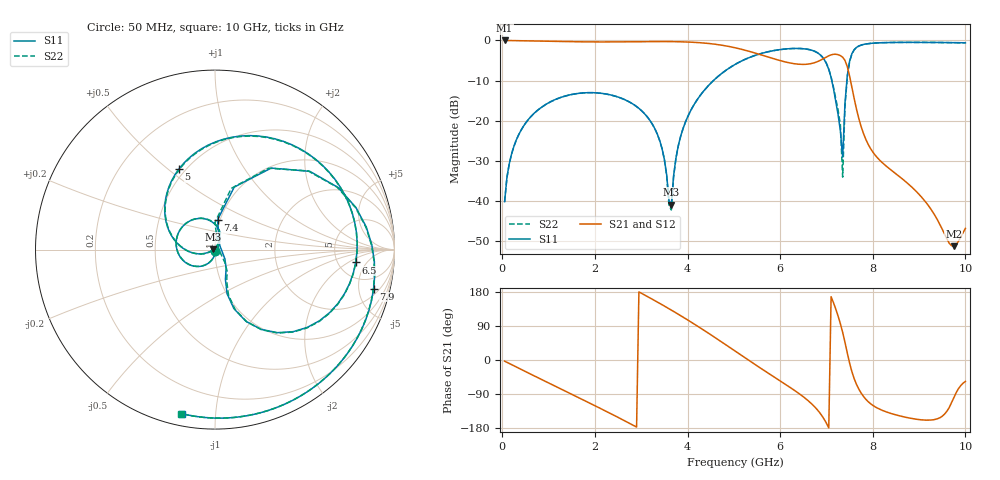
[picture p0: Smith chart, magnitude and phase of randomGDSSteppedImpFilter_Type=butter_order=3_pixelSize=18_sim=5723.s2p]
! freq	dB(S11)	phase(S11)	dB(S12)	phase(S12)
!  dB(S21)	phase(S21)	dB(S22)	phase(S22)
!S-par simulation data
#  GHz  S  DB  R 50
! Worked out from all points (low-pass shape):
!   200 points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, 50 MHz to 10 GHz, reference 50 ohm
!   highest |S21| = -0.02 dB at 50 MHz (marker M1); lowest = -51.2 dB at 9.75 GHz (marker M2)
!   |S21| within 3 dB of the highest: start of sweep to 5.42 GHz
!   lowest |S11| = -40.8 dB at 3.65 GHz (marker M3), VSWR 1.02, Z = 49.1 + j0.146 ohm
!   |S11| at or under -10 dB: start of sweep to 4.558 GHz; 7.115 GHz to 7.441 GHz (326.3 MHz wide, 4.48 % of centre)
!   |S22| runs from -42.2 to -0.5 dB; largest |S21 - S12| = 0
!   S11 on the Smith chart (normalised r, x): 50 MHz: 1.00, -0.02; 5 GHz: 0.46, +0.55; 6.5 GHz: 7.35, -2.77; 7.4 GHz: 0.97, +0.33; 7.9 GHz: 2.81, -7.15; 10 GHz: 0.06, -0.82
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0.05  -40.10 -80.7  -0.02 -3.1  -0.02 -3.1  -40.11 -81.9
0.5  -20.62 -119.3  -0.10 -30.5  -0.10 -30.5  -20.64 -119.5
1.75  -13.06 164.4  -0.37 -105.5  -0.37 -105.5  -13.06 163.8
2.65  -14.77 109.6  -0.36 -160.9  -0.36 -160.9  -14.77 108.6
3.4  -24.94 64.6  -0.30 149.4  -0.30 149.4  -24.97 62.1
3.65  -40.81 170.6  -0.31 131.7  -0.31 131.7  -42.18 178.9
3.75  -29.24 -157.8  -0.33 124.5  -0.33 124.5  -29.32 -155.5
4  -19.08 -168.7  -0.41 105.9  -0.41 105.9  -19.09 -168.6
5  -6.16 114.1  -1.77 25.8  -1.77 25.8  -6.17 113.5
5.05  -5.83 110.1  -1.90 21.7  -1.90 21.7  -5.83 109.4
5.75  -2.80 53.7  -4.18 -35.4  -4.18 -35.4  -2.80 53.0
6.5  -2.08 -5.2  -5.97 -97.0  -5.97 -97.0  -2.08 -5.8
6.7  -2.52 -23.6  -5.69 -117.9  -5.69 -117.9  -2.52 -24.0
7.1  -9.22 -72.2  -3.60 167.1  -3.60 167.1  -9.06 -71.4
7.3  -22.44 -43.1  -3.78 96.0  -3.78 96.0  -20.91 -52.4
7.35  -29.03 41.5  -4.18 72.9  -4.18 72.9  -33.99 11.9
7.4  -15.58 85.2  -4.99 46.6  -4.99 46.6  -16.46 90.2
7.55  -3.29 39.6  -11.70 -31.2  -11.70 -31.2  -3.36 40.2
7.9  -0.82 -13.8  -25.83 -109.8  -25.83 -109.8  -0.82 -14.1
8.35  -0.54 -42.4  -31.83 -139.4  -31.83 -139.4  -0.54 -42.8
9.75  -0.57 -93.9  -51.17 -99.6  -51.17 -99.6  -0.57 -94.2
10  -0.61 -101.2  -46.75 -56.5  -46.75 -56.5  -0.61 -101.6
